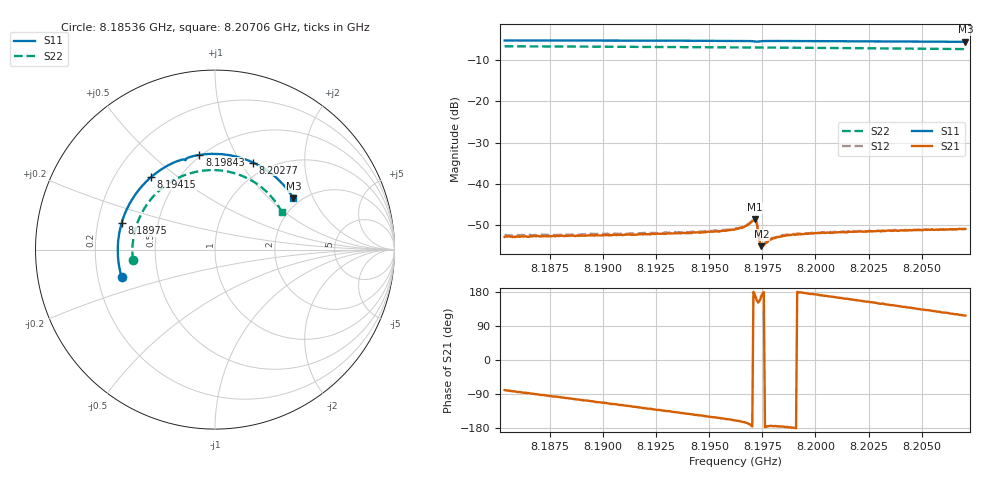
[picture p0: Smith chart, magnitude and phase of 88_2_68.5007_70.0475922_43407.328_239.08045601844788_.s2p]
#  HZ  S  RI  R  50.00
! Rohde & Schwarz Vector Network Analyzer
! Rohde-Schwarz,ZNB20-2Port,1311601062101988,3.16
! Created: UTC 3/20/2024, 5:07:41 PM
! freq[Hz]  re:S11  im:S11  re:S21  im:S21  re:S12  im:S12  re:S22  im:S22
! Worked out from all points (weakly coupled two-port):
!   401 points, 8.18536 GHz to 8.20706 GHz, reference 50 ohm
!   highest |S21| = -48.56 dB at 8.19713 GHz (marker M1); lowest = -55.0 dB at 8.19746 GHz (marker M2)
!   lowest |S11| = -5.6 dB at 8.20706 GHz (marker M3), VSWR 3.19, Z = 91.1 + j71.8 ohm
!   |S11| at or under -10 dB: nowhere
!   |S22| runs from -7.4 to -6.7 dB; largest |S21 - S12| = 0.0002
!   S11 on the Smith chart (normalised r, x): 8.18536 GHz: 0.30, -0.13; 8.18975 GHz: 0.30, +0.13; 8.19415 GHz: 0.35, +0.40; 8.19843 GHz: 0.49, +0.72; 8.20277 GHz: 0.84, +1.13; 8.20706 GHz: 1.82, +1.44
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8.185361e9  -0.52 -0.155  0.000426 -0.00225  0.000383 -0.00237  -0.4576 -0.0594
8.187205e9  -0.5412 -0.0282  -8.48e-05 -0.00233  -0.000167 -0.00241  -0.4574 0.043
8.188995e9  -0.5325 0.0965  -0.000646 -0.00227  -0.000738 -0.00235  -0.4358 0.14
8.189755e9  -0.5203 0.1482  -0.000859 -0.00222  -0.000956 -0.00232  -0.42 0.1793
8.192629e9  -0.4291 0.3269  -0.00166 -0.00187  -0.00177 -0.00186  -0.3301 0.3106
8.194148e9  -0.3558 0.404  -0.00203 -0.00153  -0.00218 -0.00151  -0.2652 0.365
8.19621e9  -0.2333 0.4833  -0.00264 -0.000996  -0.00274 -0.000908  -0.1624 0.4176
8.196644e9  -0.2042 0.4953  -0.00291 -0.000838  -0.00302 -0.000733  -0.1392 0.4249
8.197023e9  -0.1754 0.5021  -0.00353 -0.00028  -0.00361 -0.000124  -0.1184 0.4306
8.197132e9  -0.1672 0.5007  -0.00371 0.000385  -0.00374 0.000548  -0.1125 0.4318
8.197186e9  -0.1646 0.4989  -0.00353 0.000917  -0.00353 0.00107  -0.1095 0.4325
8.19724e9  -0.1641 0.4975  -0.00302 0.00128  -0.00301 0.00142  -0.1067 0.4331
8.197403e9  -0.161 0.5051  -0.00173 0.000608  -0.00178 0.000698  -0.0978 0.4351
8.197457e9  -0.1576 0.5079  -0.00174 0.000312  -0.00173 0.000429  -0.0949 0.4357
8.197511e9  -0.1536 0.5102  -0.00177 0.000131  -0.00178 0.000248  -0.0918 0.4363
8.197945e9  -0.1222 0.5207  -0.00215 -0.000224  -0.00221 -0.000156  -0.0673 0.4399
8.198434e9  -0.0873 0.5275  -0.00231 -0.000175  -0.00239 -5.21e-05  -0.0398 0.4424
8.199844e9  0.0127 0.5331  -0.0025 0.000265  -0.00255 0.000388  0.0402 0.4398
8.202773e9  0.2128 0.485  -0.00236 0.00129  -0.00232 0.00139  0.1985 0.3882
8.203478e9  0.2571 0.4618  -0.00225 0.00156  -0.00219 0.00164  0.2332 0.3664
8.205323e9  0.3606 0.3824  -0.00185 0.0021  -0.00176 0.00217  0.3131 0.2953
8.207058e9  0.4371 0.2863  -0.00131 0.00255  -0.00123 0.00259  0.3708 0.2111
